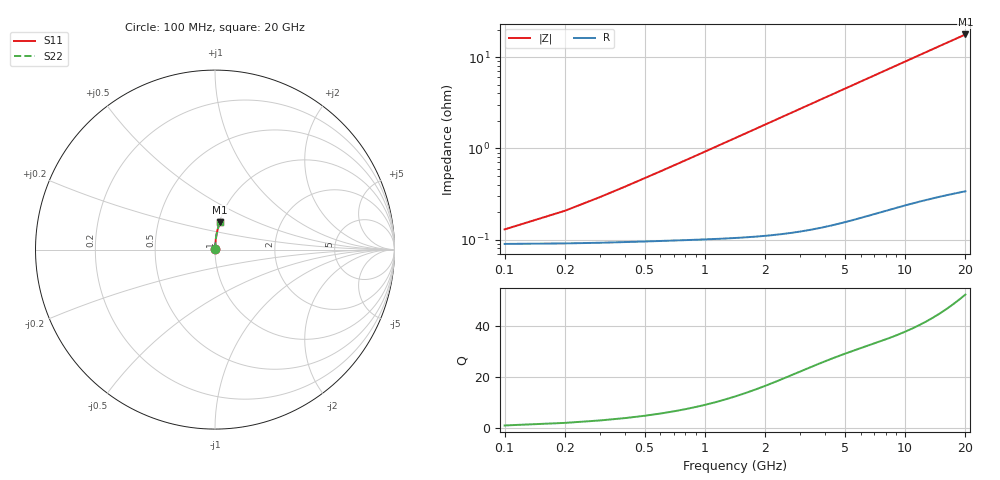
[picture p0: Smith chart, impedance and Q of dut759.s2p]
! Touchstone file exported from HFSS 2024.1.0
!  File:  C:/UserFiles/LocalFiles/RDL_TSV_Batchsim/temp_RDL_top_759_1779852161.aedt
!  Generated:  11:25:06 AM May 27, 2026
!  Design:  RDL_top
!  Project:  temp_RDL_top_759_1779852161
!  Setup:  Setup1
!  Solution:  Sweep
! Variables:
!  dtsv = 10.80580581um
!  hbump = 3um
!  htsv = 90.23um
!  ldown = 100um
!  lrdl = 104.9um
!  p = 40
!  p1 = 47.54um
!  rhole = 1um
!  t = 450um
!  tdown = 3.915915916um
!  trdl = 4.74um
!  wdown = 15.38538539um
!  wrdl = 10.02um
# GHz S MA R 50.000000
! Terminal data exported
! Port[1] = Box2_T1
! Port[2] = Box2_T2
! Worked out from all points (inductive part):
!   200 points, 100 MHz to 20 GHz, reference 50 ohm
!   read as one part in series: L = 147 pH near 300 MHz
!   highest Q = 52.5 at 20 GHz (marker M1), where L = 141 pH
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0.1  0.001198 41.7  0.9991 -0.1  0.9991 -0.1  0.001198 41.7
! Gamma 0 0 0 0
! Port Impedance 50 0 50 0
0.2  0.00183 60.3  0.9991 -0.1  0.9991 -0.1  0.00183 60.3
0.3  0.002549 68.7  0.9991 -0.2  0.9991 -0.2  0.002549 68.7
0.4  0.003294 73.4  0.9991 -0.2  0.9991 -0.2  0.003294 73.4
0.5  0.004049 76.3  0.999 -0.3  0.999 -0.3  0.004049 76.3
0.6  0.004809 78.3  0.999 -0.4  0.999 -0.4  0.004809 78.3
0.8  0.006337 80.9  0.999 -0.5  0.999 -0.5  0.006337 80.9
1.1  0.008643 83.0  0.9989 -0.7  0.9989 -0.7  0.008643 83.0
1.5  0.01173 84.5  0.9988 -0.9  0.9988 -0.9  0.01173 84.5
1.8  0.01405 85.1  0.9987 -1.1  0.9987 -1.1  0.01405 85.1
2.1  0.01637 85.5  0.9986 -1.3  0.9986 -1.3  0.01637 85.5
2.7  0.02102 86.0  0.9983 -1.6  0.9983 -1.6  0.02102 86.0
3.5  0.02723 86.3  0.9978 -2.1  0.9978 -2.1  0.02723 86.3
4.2  0.03266 86.3  0.9973 -2.5  0.9973 -2.5  0.03266 86.3
5  0.03887 86.2  0.9967 -2.9  0.9967 -2.9  0.03887 86.2
5.9  0.04587 86.0  0.996 -3.5  0.996 -3.5  0.04587 86.0
6.8  0.05288 85.8  0.9951 -4.0  0.9951 -4.0  0.05288 85.8
8.3  0.06458 85.2  0.9936 -4.8  0.9936 -4.8  0.06458 85.2
10.1  0.07866 84.5  0.9917 -5.8  0.9917 -5.8  0.07866 84.5
13.4  0.1045 83.0  0.9877 -7.6  0.9877 -7.6  0.1045 83.0
16.7  0.1302 81.3  0.9835 -9.4  0.9835 -9.4  0.1302 81.3
20  0.1557 79.6  0.9788 -11.2  0.9788 -11.2  0.1557 79.6
